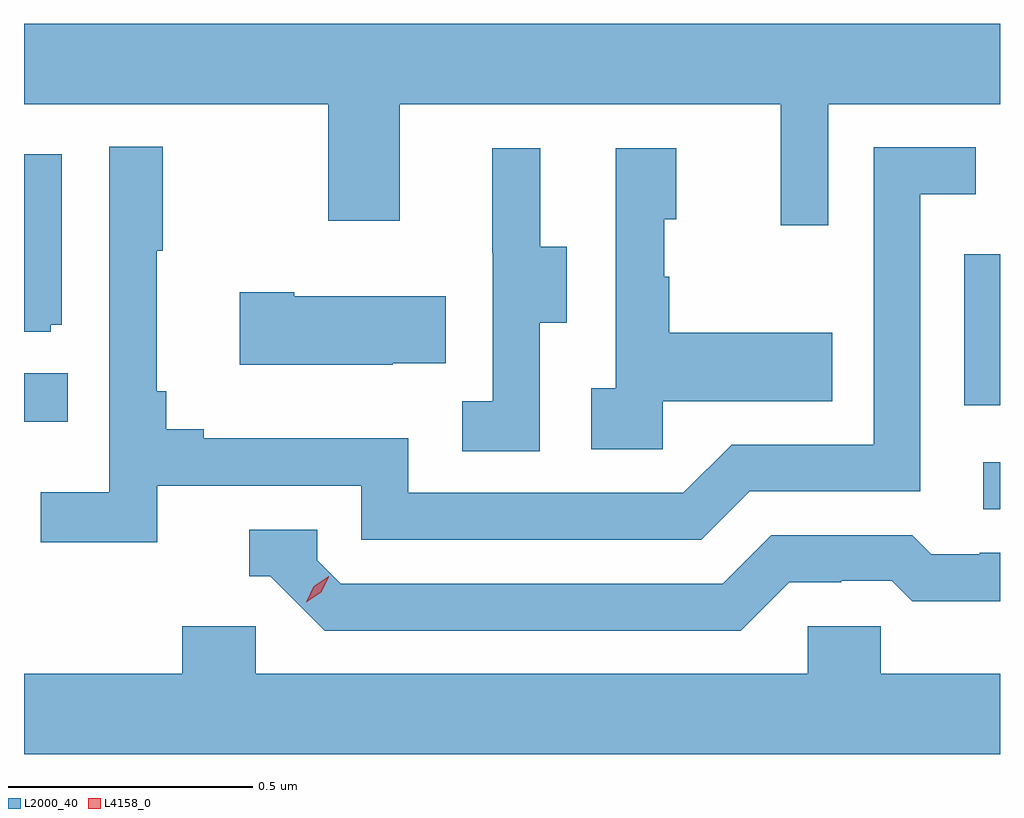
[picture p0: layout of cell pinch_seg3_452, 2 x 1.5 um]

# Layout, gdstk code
import gdstk
lib = gdstk.Library(unit=1e-6, precision=1e-09)
def R(c, l, rs):  # rectangles x0, y0, x1, y1
    for r in rs: c.add(gdstk.rectangle(r[:2], r[2:], *l))
def P(c, l, *ps):  # polygons
    for p in ps: c.add(gdstk.Polygon(p, *l))
L2000_40 = (2000, 40)
L4158_0 = (4158, 0)

pinch_seg3_452 = lib.new_cell('pinch_seg3_452')
R(pinch_seg3_452, L2000_40, [(925.521,672.114,925.555,672.21), (923.555,672.293,923.645,672.392), (925.482,672.327,925.555,672.636)])
P(pinch_seg3_452, L2000_40, [(925.203,672.944),(925.555,672.944),(925.555,673.108),(923.555,673.108),(923.555,672.944),(924.178,672.944),(924.178,672.705),(924.325,672.705),(924.325,672.944),(925.106,672.944),(925.106,672.696),(925.203,672.696)],
  [(923.828,672.162),(924.246,672.162),(924.246,672.051),(924.943,672.051),(925.042,672.15),(925.392,672.15),(925.392,672.759),(925.505,672.759),(925.505,672.855),(925.296,672.855),(925.296,672.246),(925.005,672.246),(924.906,672.147),(924.342,672.147),(924.342,672.259),(923.923,672.259),(923.923,672.278),(923.846,672.278),(923.846,672.355),(923.827,672.355),(923.827,672.643),(923.839,672.643),(923.839,672.856),(923.73,672.856),(923.73,672.148),(923.589,672.148),(923.589,672.046),(923.828,672.046)],
  [(924.864,672.335),(925.211,672.335),(925.211,672.475),(924.877,672.475),(924.877,672.59),(924.867,672.59),(924.867,672.708),(924.892,672.708),(924.892,672.853),(924.768,672.853),(924.768,672.362),(924.717,672.362),(924.717,672.237),(924.864,672.237)],
  [(924.612,672.496),(924.667,672.496),(924.667,672.651),(924.613,672.651),(924.613,672.853),(924.515,672.853),(924.515,672.639),(924.516,672.639),(924.516,672.335),(924.453,672.335),(924.453,672.232),(924.612,672.232)],
  [(923.61,672.492),(923.632,672.492),(923.632,672.841),(923.555,672.841),(923.555,672.477),(923.61,672.477)],
  [(924.311,672.413),(924.419,672.413),(924.419,672.55),(924.109,672.55),(924.109,672.558),(923.997,672.558),(923.997,672.41),(924.311,672.41)],
  [(925.123,671.964),(925.23,671.964),(925.23,671.967),(925.333,671.967),(925.375,671.925),(925.555,671.925),(925.555,672.024),(925.513,672.024),(925.513,672.021),(925.414,672.021),(925.375,672.06),(925.086,672.06),(924.987,671.961),(924.204,671.961),(924.156,672.009),(924.156,672.072),(924.017,672.072),(924.017,671.976),(924.06,671.976),(924.171,671.865),(925.024,671.865)],
  [(925.555,671.776),(925.311,671.776),(925.311,671.874),(925.161,671.874),(925.161,671.776),(924.03,671.776),(924.03,671.874),(923.879,671.874),(923.879,671.776),(923.555,671.776),(923.555,671.612),(925.555,671.612)])
P(pinch_seg3_452, L4158_0, [(924.133,671.923),(924.133,671.923),(924.149,671.956),(924.179,671.976),(924.179,671.976),(924.179,671.975),(924.164,671.943),(924.133,671.923)])

lib.write_gds('pinch_seg3_452.gds')
